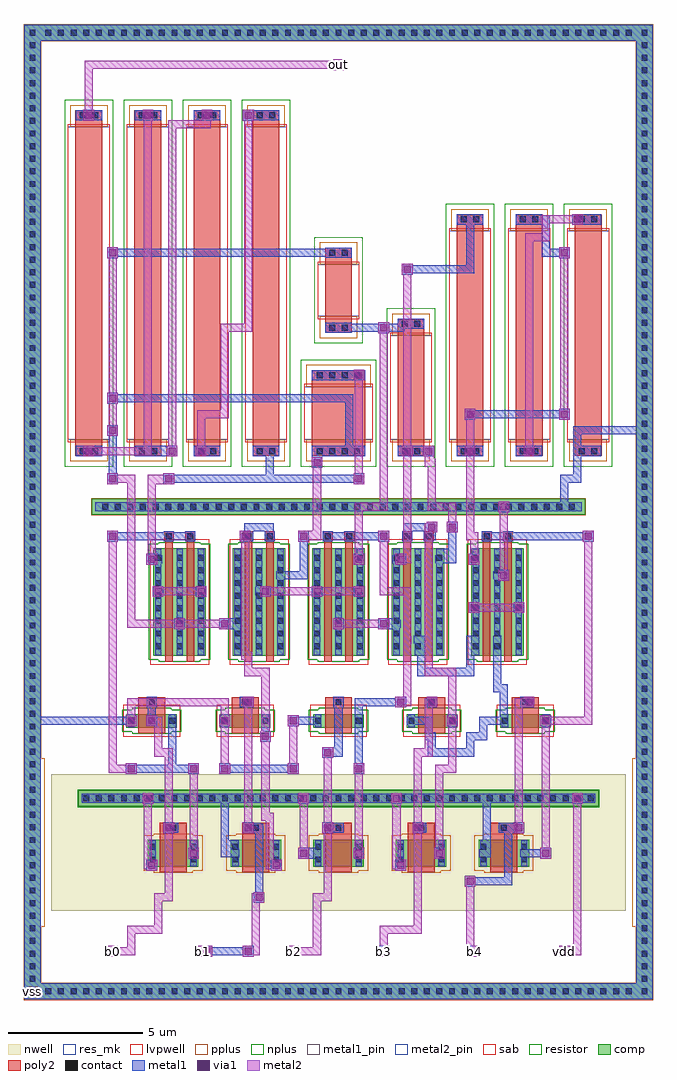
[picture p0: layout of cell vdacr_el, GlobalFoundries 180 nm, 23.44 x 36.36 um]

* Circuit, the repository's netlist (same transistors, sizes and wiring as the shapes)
* NGSPICE file created from vdacr_el.ext - technology: gf180mcuD

.subckt r_w1_l7p765 a_n100_n899# a_n100_777# VSUBS
X0 a_n100_777# a_n100_n899# VSUBS ppolyf_u_1k r_width=1u r_length=7.77u
.ends

.subckt r_w2_l1p97 a_n200_n319# a_n200_197# VSUBS
X0 a_n200_197# a_n200_n319# VSUBS ppolyf_u_1k r_width=2u r_length=1.97u
.ends

.subckt r_w1_l1p94 a_n100_n316# a_n100_194# VSUBS
X0 a_n100_194# a_n100_n316# VSUBS ppolyf_u_1k r_width=1u r_length=1.94u
.ends

.subckt r_w1_l3p88 a_n100_n510# a_n100_388# VSUBS
X0 a_n100_388# a_n100_n510# VSUBS ppolyf_u_1k r_width=1u r_length=3.88u
.ends

.subckt n_w0p5_l1 a_100_n50# a_n100_n94# a_n188_n50# VSUBS
X0 a_100_n50# a_n100_n94# a_n188_n50# VSUBS nfet_03v3 ad=0.22p pd=1.88u as=0.22p ps=1.88u w=0.5u l=1u
.ends

.subckt p_w1_l1 a_n188_n100# a_100_n100# a_n100_n144# w_n274_n230#
X0 a_100_n100# a_n100_n144# a_n188_n100# w_n274_n230# pfet_03v3 ad=0.44p pd=2.88u as=0.44p ps=2.88u w=1u l=1u
.ends

.subckt r_w1_l11p645 a_n100_1165# a_n100_n1287# VSUBS
X0 a_n100_1165# a_n100_n1287# VSUBS ppolyf_u_1k r_width=1u r_length=11.65u
.ends

.subckt n_w4_l0p28_f2 a_n52_n400# a_52_n444# a_108_n400# a_n108_n444# a_n196_n400#
+ VSUBS
X0 a_108_n400# a_52_n444# a_n52_n400# VSUBS nfet_03v3 ad=1.76p pd=8.88u as=1.04p ps=4.52u w=4u l=0.28u
X1 a_n52_n400# a_n108_n444# a_n196_n400# VSUBS nfet_03v3 ad=1.04p pd=4.52u as=1.76p ps=8.88u w=4u l=0.28u
.ends

.subckt vdacr_el b0 b1 b2 b3 b4 vdd out vss
XXRS4_0 m1_3662_4048# m1_3310_2880# vss r_w1_l7p765
XXRS4_1 vss m1_3662_4048# vss r_w1_l7p765
XXRS0 m1_617_3840# m1_956_3000# vss r_w2_l1p97
XXRS1 m1_2242_4966# m1_617_3840# vss r_w1_l1p94
XXRS3 m1_3310_2880# m1_2742_3250# vss r_w1_l7p765
XXRS2 m1_2742_3250# m1_2242_4966# vss r_w1_l3p88
XIB4n a_3408_3416# b4 vss vss n_w0p5_l1
XIB3n a_2816_3416# b3 vss vss n_w0p5_l1
XIB4p vdd a_3408_3416# b4 vdd p_w1_l1
XIB2n a_2224_3416# b2 vss vss n_w0p5_l1
XIB3p vdd a_2816_3416# b3 vdd p_w1_l1
XIB2p vdd a_2224_3416# b2 vdd p_w1_l1
XIB1n a_1632_3416# b1 vss vss n_w0p5_l1
XIB0n a_1040_3416# b0 vss vss n_w0p5_l1
XIB1p vdd a_1632_3416# b1 vdd p_w1_l1
XIB0p vdd a_1040_3416# b0 vdd p_w1_l1
XXRB0 out m1_382_4048# vss r_w1_l11p645
XSW0 m1_617_3840# a_1040_3416# m1_956_3000# a_1040_3416# m1_956_3000# vss n_w4_l0p28_f2
XXRB1 m1_382_4048# m1_822_4048# vss r_w1_l11p645
XSW2 m1_2742_3250# a_2224_3416# m1_2242_4966# a_2224_3416# m1_2242_4966# vss n_w4_l0p28_f2
XSW1 m1_2242_4966# a_1632_3416# m1_617_3840# a_1632_3416# m1_617_3840# vss n_w4_l0p28_f2
XXRB3 m1_1262_4048# m1_956_3000# vss r_w1_l11p645
XXRB2 m1_822_4048# m1_1262_4048# vss r_w1_l11p645
XSW3 m1_3310_2880# a_2816_3416# m1_2742_3250# a_2816_3416# m1_2742_3250# vss n_w4_l0p28_f2
XSW4 vss a_3408_3416# m1_3310_2880# a_3408_3416# m1_3310_2880# vss n_w4_l0p28_f2
.ends

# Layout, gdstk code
import gdstk
lib = gdstk.Library(unit=1e-6, precision=1e-09)
def R(c, l, rs):  # rectangles x0, y0, x1, y1
    for r in rs: c.add(gdstk.rectangle(r[:2], r[2:], *l))
def A(c, l, x, y, w, h, nx, ny, dx, dy):  # array of equal rectangles
    R(c, l, [(x+i*dx, y+j*dy, x+i*dx+w, y+j*dy+h) for i in range(nx) for j in range(ny)])
nwell = (21, 0)
comp = (22, 0)
poly2 = (30, 0)
pplus = (31, 0)
nplus = (32, 0)
contact = (33, 0)
metal1 = (34, 0)
metal1_pin = (34, 10)
via1 = (35, 0)
metal2 = (36, 0)
metal2_pin = (36, 10)
sab = (49, 0)
resistor = (62, 0)
res_mk = (110, 5)
lvpwell = (204, 0)

p_w1_l1 = lib.new_cell('p_w1_l1')
R(p_w1_l1, nwell, [(-1.37,-1.15,1.37,1.15)])
R(p_w1_l1, comp, [(-0.94,-0.5,0.94,0.5)])
R(p_w1_l1, poly2, [(-0.5,-0.72,0.5,0.72)])
R(p_w1_l1, pplus, [(-0.73,-0.73,0.73,-0.66), (-1.1,-0.66,1.1,0.66), (-0.73,0.66,0.73,0.73)])
R(p_w1_l1, contact, [(-0.87,-0.345,-0.65,-0.125), (0.65,-0.345,0.87,-0.125), (-0.87,0.125,-0.65,0.345), (0.65,0.125,0.87,0.345)])
R(p_w1_l1, metal1, [(-0.875,-0.49,-0.645,0.49), (0.645,-0.49,0.875,0.49)])

n_w0p5_l1 = lib.new_cell('n_w0p5_l1')
R(n_w0p5_l1, comp, [(-0.94,-0.25,0.94,0.25)])
R(n_w0p5_l1, poly2, [(-0.5,-0.47,0.5,0.47)])
R(n_w0p5_l1, nplus, [(-0.73,-0.48,0.73,-0.41), (-1.1,-0.41,1.1,0.41), (-0.73,0.41,0.73,0.48)])
R(n_w0p5_l1, contact, [(-0.87,-0.11,-0.65,0.11), (0.65,-0.11,0.87,0.11)])
R(n_w0p5_l1, metal1, [(-0.875,-0.24,-0.645,0.24), (0.645,-0.24,0.875,0.24)])
R(n_w0p5_l1, lvpwell, [(-1.06,-0.59,1.06,0.59)])

n_w4_l0p28_f2 = lib.new_cell('n_w4_l0p28_f2')
R(n_w4_l0p28_f2, comp, [(-0.98,-2,0.98,2)])
R(n_w4_l0p28_f2, poly2, [(-0.54,-2.22,-0.26,2.22), (0.26,-2.22,0.54,2.22)])
R(n_w4_l0p28_f2, nplus, [(-0.77,-2.23,0.77,-2.16), (-1.14,-2.16,1.14,2.16), (-0.77,2.16,0.77,2.23)])
A(n_w4_l0p28_f2, contact, -0.91, -1.755, 0.22, 0.22, 3, 8, 0.8, 0.47)
A(n_w4_l0p28_f2, metal1, -0.915, -1.99, 0.23, 3.98, 3, 1, 0.8, 0)
R(n_w4_l0p28_f2, lvpwell, [(-1.1,-2.34,1.1,2.34)])

r_w1_l11p645 = lib.new_cell('r_w1_l11p645')
R(r_w1_l11p645, poly2, [(-0.5,-6.435,0.5,6.435)])
R(r_w1_l11p645, pplus, [(-0.7,-6.635,0.7,-5.825), (-0.7,5.825,0.7,6.635)])
R(r_w1_l11p645, contact, [(-0.345,-6.365,-0.125,-6.145), (0.125,-6.365,0.345,-6.145), (-0.345,6.145,-0.125,6.365), (0.125,6.145,0.345,6.365)])
R(r_w1_l11p645, metal1, [(-0.49,-6.37,0.49,-6.14), (-0.49,6.14,0.49,6.37)])
R(r_w1_l11p645, sab, [(-0.78,-5.925,0.78,5.925), (-0.78,-5.825,0.78,5.825)])
R(r_w1_l11p645, resistor, [(-0.9,-6.835,0.9,6.835)])
R(r_w1_l11p645, res_mk, [(-0.78,-5.825,0.78,5.825), (-0.5,-5.825,0.5,5.825)])

r_w2_l1p97 = lib.new_cell('r_w2_l1p97')
R(r_w2_l1p97, poly2, [(-1,-1.595,1,1.595)])
R(r_w2_l1p97, pplus, [(-1.2,-1.795,1.2,-0.985), (-1.2,0.985,1.2,1.795)])
A(r_w2_l1p97, contact, -0.815, -1.525, 0.22, 0.22, 4, 2, 0.47, 2.83)
R(r_w2_l1p97, metal1, [(-0.99,-1.53,0.99,-1.3), (-0.99,1.3,0.99,1.53)])
R(r_w2_l1p97, sab, [(-1.28,-1.085,1.28,1.085), (-1.28,-0.985,1.28,0.985)])
R(r_w2_l1p97, resistor, [(-1.4,-1.995,1.4,1.995)])
R(r_w2_l1p97, res_mk, [(-1.28,-0.985,1.28,0.985), (-1,-0.985,1,0.985)])

r_w1_l1p94 = lib.new_cell('r_w1_l1p94')
R(r_w1_l1p94, poly2, [(-0.5,-1.58,0.5,1.58)])
R(r_w1_l1p94, pplus, [(-0.7,-1.78,0.7,-0.97), (-0.7,0.97,0.7,1.78)])
R(r_w1_l1p94, contact, [(-0.345,-1.51,-0.125,-1.29), (0.125,-1.51,0.345,-1.29), (-0.345,1.29,-0.125,1.51), (0.125,1.29,0.345,1.51)])
R(r_w1_l1p94, metal1, [(-0.49,-1.515,0.49,-1.285), (-0.49,1.285,0.49,1.515)])
R(r_w1_l1p94, sab, [(-0.78,-1.07,0.78,1.07), (-0.78,-0.97,0.78,0.97)])
R(r_w1_l1p94, resistor, [(-0.9,-1.98,0.9,1.98)])
R(r_w1_l1p94, res_mk, [(-0.78,-0.97,0.78,0.97), (-0.5,-0.97,0.5,0.97)])

r_w1_l3p88 = lib.new_cell('r_w1_l3p88')
R(r_w1_l3p88, poly2, [(-0.5,-2.55,0.5,2.55)])
R(r_w1_l3p88, pplus, [(-0.7,-2.75,0.7,-1.94), (-0.7,1.94,0.7,2.75)])
R(r_w1_l3p88, contact, [(-0.345,-2.48,-0.125,-2.26), (0.125,-2.48,0.345,-2.26), (-0.345,2.26,-0.125,2.48), (0.125,2.26,0.345,2.48)])
R(r_w1_l3p88, metal1, [(-0.49,-2.485,0.49,-2.255), (-0.49,2.255,0.49,2.485)])
R(r_w1_l3p88, sab, [(-0.78,-2.04,0.78,2.04), (-0.78,-1.94,0.78,1.94)])
R(r_w1_l3p88, resistor, [(-0.9,-2.95,0.9,2.95)])
R(r_w1_l3p88, res_mk, [(-0.78,-1.94,0.78,1.94), (-0.5,-1.94,0.5,1.94)])

r_w1_l7p765 = lib.new_cell('r_w1_l7p765')
R(r_w1_l7p765, poly2, [(-0.5,-4.495,0.5,4.495)])
R(r_w1_l7p765, pplus, [(-0.7,-4.695,0.7,-3.885), (-0.7,3.885,0.7,4.695)])
R(r_w1_l7p765, contact, [(-0.345,-4.425,-0.125,-4.205), (0.125,-4.425,0.345,-4.205), (-0.345,4.205,-0.125,4.425), (0.125,4.205,0.345,4.425)])
R(r_w1_l7p765, metal1, [(-0.49,-4.43,0.49,-4.2), (-0.49,4.2,0.49,4.43)])
R(r_w1_l7p765, sab, [(-0.78,-3.985,0.78,3.985), (-0.78,-3.885,0.78,3.885)])
R(r_w1_l7p765, resistor, [(-0.9,-4.895,0.9,4.895)])
R(r_w1_l7p765, res_mk, [(-0.78,-3.885,0.78,3.885), (-0.5,-3.885,0.5,3.885)])

vdacr_el = lib.new_cell('vdacr_el')
R(vdacr_el, nwell, [(1,3.3,22.4,8.39)])
R(vdacr_el, comp, [(0,0,23.4,0.6), (0,0.6,0.6,35.72), (22.8,0.6,23.4,35.72), (2,7.19,21.4,7.79), (2.5,18.05,20.9,18.65), (0,35.72,23.4,36.32)])
A(vdacr_el, poly2, 5.04, 5.95, 1, 0.63, 5, 1, 3.08, 0)
A(vdacr_el, poly2, 4.24, 10.63, 1, 0.63, 5, 1, 3.48, 0)
R(vdacr_el, poly2, [(5.24,16.81,5.52,17.08), (6.04,16.81,6.32,17.08), (8.2,16.81,8.48,17.08), (9,16.81,9.28,17.08), (11.16,16.81,11.44,17.08), (11.96,16.81,12.24,17.08), (14.12,16.81,14.4,17.08), (14.92,16.81,15.2,17.08), (17.08,16.81,17.36,17.08), (17.88,16.81,18.16,17.08), (5.2,17.08,5.56,17.44), (6,17.08,6.36,17.44), (8.16,17.08,8.52,17.44), (8.96,17.08,9.32,17.44), (11.12,17.08,11.48,17.44), (11.92,17.08,12.28,17.44), (14.08,17.08,14.44,17.44), (14.88,17.08,15.24,17.44), (17.04,17.08,17.4,17.44), (17.84,17.08,18.2,17.44)])
R(vdacr_el, pplus, [(-0.02,-0.02,23.42,0.62), (-0.02,0.62,0.62,2.71), (22.78,0.62,23.42,2.71), (-0.02,2.71,0.76,8.98), (22.64,2.71,23.42,8.98), (-0.02,8.98,0.62,35.7), (22.78,8.98,23.42,35.7), (2.48,18.03,20.92,18.67), (-0.02,35.7,23.42,36.34)])
R(vdacr_el, nplus, [(1.98,7.17,21.42,7.81)])
A(vdacr_el, contact, 0.19, 0.19, 0.22, 0.22, 1, 77, 0, 0.47)
A(vdacr_el, contact, 0.78, 0.19, 0.22, 0.22, 47, 2, 0.47, 35.72)
A(vdacr_el, contact, 22.99, 0.19, 0.22, 0.22, 1, 77, 0, 0.47)
A(vdacr_el, contact, 5.43, 6.29, 0.22, 0.22, 5, 1, 3.08, 0)
A(vdacr_el, contact, 2.19, 7.38, 0.22, 0.22, 41, 1, 0.47, 0)
A(vdacr_el, contact, 4.63, 10.97, 0.22, 0.22, 5, 1, 3.48, 0)
A(vdacr_el, contact, 2.895, 18.24, 0.22, 0.22, 38, 1, 0.47, 0)
R(vdacr_el, contact, [(5.27,17.15,5.49,17.37), (6.07,17.15,6.29,17.37), (8.23,17.15,8.45,17.37), (9.03,17.15,9.25,17.37), (11.19,17.15,11.41,17.37), (11.99,17.15,12.21,17.37), (14.15,17.15,14.37,17.37), (14.95,17.15,15.17,17.37), (17.11,17.15,17.33,17.37), (17.91,17.15,18.13,17.37)])
A(vdacr_el, metal1, 4.54, 4.8, 0.4, 0.4, 3, 1, 4.64, 0)
A(vdacr_el, metal1, 5.18, 6.59, 0.4, 0.01, 3, 1, 2.96, 0)
A(vdacr_el, metal1, 2.2, 32.74, 0.4, 0.01, 3, 2, 2.2, 0.39)
A(vdacr_el, metal1, 1.91, 32.75, 0.98, 0.38, 3, 1, 2.2, 0)
R(vdacr_el, metal1, [(0,0,23.4,0.6), (0,0.6,0.6,10.23), (22.8,0.6,23.4,21.05), (6.6,1.6,7,1.65), (8.14,1.6,8.54,1.65), (6.6,1.65,8.54,1.95), (6.6,1.95,7,2), (8.14,1.95,8.54,2), (8.54,3.6,8.94,4), (8.59,4,8.89,6.2), (16.4,4.2,16.8,4.25), (16.4,4.25,18.17,4.55), (16.4,4.55,16.8,4.6), (17.87,4.55,18.17,6.2), (6.1,5.25,6.5,5.65), (10.2,5.25,10.825,5.3), (12.26,5.25,12.66,5.65), (15.26,5.25,15.66,5.65), (19.22,5.25,19.62,5.3), (7.31,5.3,8.01,5.6), (10.2,5.3,11.05,5.6), (16.95,5.3,17.37,5.6), (18.47,5.3,19.62,5.6), (7.31,5.6,7.745,5.94), (10.2,5.6,10.825,5.65), (17.07,5.6,17.37,7.32), (19.22,5.6,19.62,5.65), (7.31,5.94,7.61,7.32), (5.18,6.2,5.58,6.21), (8.14,6.2,8.89,6.55), (11.1,6.2,11.5,6.21), (14.46,6.2,14.86,6.21), (17.87,6.2,18.62,6.21), (5.18,6.21,5.73,6.59), (11.1,6.21,11.89,6.59), (14.46,6.21,14.97,6.59), (17.67,6.21,18.62,6.59), (8.14,6.55,8.81,6.59), (14.46,6.59,14.86,6.6), (18.22,6.59,18.62,6.6), (4.4,7.29,4.8,7.32), (10.2,7.29,10.6,7.32), (13.66,7.29,14.06,7.32), (20.4,7.29,20.8,7.32), (2.13,7.32,21.27,7.66), (4.4,7.66,4.8,7.69), (10.2,7.66,10.6,7.69), (13.66,7.66,14.06,7.69), (20.4,7.66,20.8,7.69), (3.78,8.4,4.18,8.45), (6.1,8.4,6.5,8.45), (7.26,8.4,7.66,8.45), (9.815,8.4,10.215,8.45), (12.26,8.4,12.66,8.8), (3.78,8.45,6.5,8.75), (7.26,8.45,10.215,8.75), (3.78,8.75,4.18,8.8), (5.35,8.75,5.65,10.53), (6.1,8.75,6.5,8.8), (7.26,8.75,7.66,8.8), (9.815,8.75,10.215,8.8), (12.31,8.8,12.61,10.93), (11.1,9,11.5,9.05), (11.1,9.05,11.85,9.4), (15.03,9.05,16.75,9.35), (15.03,9.35,15.33,9.65), (16.45,9.35,16.75,9.65), (11.55,9.4,11.85,10.89), (8.78,9.6,9.18,10), (14.91,9.65,15.33,9.95), (16.45,9.65,17.25,9.95), (14.91,9.95,15.21,10.23), (16.95,9.95,17.25,10.23), (8.83,10,9.13,10.53), (3.78,10.18,4.18,10.23), (4.54,10.18,4.94,10.58), (7.26,10.18,7.66,10.58), (9.815,10.18,10.215,10.23), (15.74,10.18,16.14,10.58), (19.22,10.18,19.62,10.58), (0,10.23,4.18,10.53), (9.815,10.23,11.05,10.53), (14.25,10.23,15.21,10.53), (16.95,10.23,18.01,10.53), (0,10.53,0.6,35.72), (3.78,10.53,4.18,10.58), (9.815,10.53,10.215,10.58), (17.71,10.53,18.01,11.45), (4.59,10.58,4.89,10.89), (8.14,10.88,8.54,10.89), (13.82,10.88,14.22,10.93), (14.98,10.88,15.38,11.28), (18.6,10.88,19,10.89), (4.55,10.89,4.93,11.27), (8.03,10.89,8.54,11.27), (11.51,10.89,11.89,11.27), (18.47,10.89,19,11.27), (12.31,10.93,14.22,11.23), (13.82,11.23,14.22,11.28), (8.14,11.27,8.54,11.28), (18.6,11.27,19,11.28), (17.47,11.45,18.01,11.75), (17.47,11.75,17.77,13.55), (14.63,12.05,16.75,12.35), (14.63,12.35,14.93,13.25), (16.45,12.35,16.75,13.25), (14.51,13.25,14.93,13.55), (16.45,13.25,16.9,13.55), (5.58,13.8,5.98,14.2), (7.26,13.8,7.825,13.85), (11.5,13.8,11.9,14.2), (13.185,13.8,13.745,13.85), (7.26,13.85,8.01,14.15), (13.185,13.85,14.01,14.15), (7.26,14.15,7.825,14.2), (13.185,14.15,13.745,14.2), (16.55,14.4,16.95,14.8), (18.22,14.4,18.62,14.8), (4.78,15,5.18,15.4), (6.38,15,6.78,15.4), (8.78,15,9.18,15.05), (10.7,15,11.1,15.4), (12.26,15,12.66,15.4), (8.59,15.05,9.18,15.35), (8.78,15.35,9.18,15.4), (17.66,15.6,18.06,15.65), (9.39,15.65,10.55,15.95), (17.47,15.65,18.06,15.95), (10.25,15.95,10.55,17.06), (17.66,15.95,18.06,16), (4.54,16.2,4.94,16.25), (12.26,16.2,12.66,16.6), (13.82,16.2,14.22,16.25), (16.55,16.2,16.95,16.6), (4.54,16.25,5.13,16.55), (13.71,16.25,14.22,16.55), (15.31,16.25,16.09,16.55), (4.54,16.55,4.94,16.6), (13.82,16.55,14.22,16.6), (15.575,16.55,16.09,16.8), (15.79,16.8,16.09,17.4), (3.085,17.06,3.485,17.11), (8.02,17.06,8.42,17.07), (10.2,17.06,10.6,17.46), (13.185,17.06,13.585,17.11), (20.8,17.06,21.2,17.11), (5.19,17.07,5.57,17.11), (5.99,17.07,6.37,17.11), (8.02,17.07,8.53,17.45), (8.95,17.07,9.33,17.45), (11.11,17.07,11.49,17.11), (11.91,17.07,12.29,17.11), (14.07,17.07,14.45,17.45), (14.87,17.07,15.25,17.11), (17.03,17.07,17.41,17.11), (17.83,17.07,18.21,17.11), (3.085,17.11,6.37,17.41), (11.11,17.11,13.585,17.41), (14.87,17.11,15.33,17.4), (17.03,17.11,21.2,17.41), (14.87,17.4,15.38,17.45), (15.74,17.4,16.14,17.8), (3.085,17.41,3.485,17.46), (5.19,17.41,5.57,17.45), (5.99,17.41,6.37,17.45), (11.11,17.41,11.49,17.45), (11.91,17.41,12.29,17.45), (13.185,17.41,13.585,17.46), (17.03,17.41,17.41,17.45), (17.83,17.41,18.21,17.45), (20.8,17.41,21.2,17.46), (8.02,17.45,9.29,17.46), (14.11,17.45,15.38,17.75), (8.19,17.46,9.29,17.75), (14.98,17.75,15.38,17.8), (17.66,18.15,18.06,18.18), (2.63,18.18,20.77,18.52), (17.66,18.52,18.06,18.55), (19.965,18.52,20.265,19.25), (3.085,19.2,3.485,19.6), (5.18,19.2,5.58,19.25), (12.26,19.2,12.66,19.25), (5.18,19.25,12.66,19.55), (19.965,19.25,20.75,19.55), (5.18,19.55,5.58,19.6), (8.99,19.55,9.29,20.24), (12.26,19.55,12.66,19.6), (20.45,19.55,20.75,20.24), (3.135,19.6,3.435,21), (10.7,19.8,11.1,20.2), (10.71,20.2,11.1,20.24), (2.2,20.23,2.6,20.24), (5.3,20.23,5.7,20.24), (6.38,20.23,6.78,20.24), (14.06,20.23,14.46,20.24), (14.86,20.23,15.26,20.24), (16.4,20.23,16.8,20.24), (18.6,20.23,19,20.24), (1.91,20.24,2.89,20.62), (4.11,20.24,5.7,20.62), (6.31,20.24,7.29,20.62), (8.51,20.24,9.49,20.62), (10.71,20.24,12.69,20.62), (13.91,20.24,15.26,20.62), (16.11,20.24,17.09,20.62), (18.31,20.24,19.29,20.62), (20.45,20.24,21.49,20.62), (2.2,20.62,2.6,20.63), (5.3,20.62,5.7,20.63), (6.38,20.62,6.78,20.63), (11.95,20.62,12.25,22.25), (14.06,20.62,14.46,20.63), (14.86,20.62,15.26,20.63), (16.4,20.62,16.8,20.63), (18.6,20.62,19,20.63), (20.45,20.62,20.75,21.05), (3.085,21,3.485,21.4), (20.45,21.05,23.4,21.35), (22.8,21.35,23.4,35.72), (16.4,21.6,16.8,21.65), (19.915,21.6,20.315,21.65), (16.4,21.65,20.315,21.95), (16.4,21.95,16.8,22), (19.915,21.95,20.315,22), (3.085,22.2,3.485,22.25), (3.085,22.25,12.25,22.55), (3.085,22.55,3.485,22.6), (12.26,23.06,12.66,23.07), (10.71,23.07,12.69,23.45), (12.26,23.45,12.66,23.46), (13.185,24.82,13.585,24.87), (11.21,24.83,12.19,24.87), (11.21,24.87,14.17,24.98), (11.21,24.98,14.89,25.17), (11.21,25.17,12.19,25.21), (13.185,25.17,13.585,25.22), (13.91,25.17,14.89,25.36), (14.06,27,14.46,27.05), (14.06,27.05,16.75,27.35), (14.06,27.35,14.46,27.4), (16.45,27.35,16.75,28.87), (3.085,27.62,3.485,27.67), (19.915,27.62,20.315,27.67), (11.21,27.63,12.19,27.67), (3.085,27.67,12.19,27.97), (19.27,27.67,20.315,27.97), (3.085,27.97,3.485,28.02), (11.21,27.97,12.19,28.01), (19.27,27.97,19.57,28.87), (19.915,27.97,20.315,28.02), (20.4,28.86,20.8,28.87), (16.11,28.87,17.09,29.25), (18.31,28.87,19.57,29.21), (20.4,28.87,21.49,29.25), (18.31,29.21,19.29,29.25), (20.4,29.25,20.8,29.26), (8.14,32.74,8.54,32.75), (8.14,32.75,9.49,33.13), (8.14,33.13,8.54,33.14), (0,35.72,23.4,36.32)])
R(vdacr_el, metal1_pin, [(0.1,0.1,0.5,0.5)])
A(vdacr_el, via1, 4.61, 4.87, 0.26, 0.26, 3, 1, 4.64, 0)
A(vdacr_el, via1, 5.25, 6.27, 0.26, 0.26, 3, 1, 2.96, 0)
A(vdacr_el, via1, 2.27, 32.81, 0.26, 0.26, 3, 1, 2.2, 0)
R(vdacr_el, via1, [(6.67,1.67,6.93,1.93), (8.21,1.67,8.47,1.93), (8.61,3.67,8.87,3.93), (16.47,4.27,16.73,4.53), (6.17,5.32,6.43,5.58), (10.27,5.32,10.53,5.58), (12.33,5.32,12.59,5.58), (15.33,5.32,15.59,5.58), (19.29,5.32,19.55,5.58), (14.53,6.27,14.79,6.53), (18.29,6.27,18.55,6.53), (4.47,7.36,4.73,7.62), (10.27,7.36,10.53,7.62), (13.73,7.36,13.99,7.62), (20.47,7.36,20.73,7.62), (3.85,8.47,4.11,8.73), (6.17,8.47,6.43,8.73), (7.33,8.47,7.59,8.73), (9.885,8.47,10.145,8.73), (12.33,8.47,12.59,8.73), (11.17,9.07,11.43,9.33), (8.85,9.67,9.11,9.93), (3.85,10.25,4.11,10.51), (4.61,10.25,4.87,10.51), (7.33,10.25,7.59,10.51), (9.885,10.25,10.145,10.51), (15.81,10.25,16.07,10.51), (19.29,10.25,19.55,10.51), (8.21,10.95,8.47,11.21), (13.89,10.95,14.15,11.21), (15.05,10.95,15.31,11.21), (18.67,10.95,18.93,11.21), (5.65,13.87,5.91,14.13), (7.33,13.87,7.59,14.13), (11.57,13.87,11.83,14.13), (13.255,13.87,13.515,14.13), (16.62,14.47,16.88,14.73), (18.29,14.47,18.55,14.73), (4.85,15.07,5.11,15.33), (6.45,15.07,6.71,15.33), (8.85,15.07,9.11,15.33), (10.77,15.07,11.03,15.33), (12.33,15.07,12.59,15.33), (17.73,15.67,17.99,15.93), (4.61,16.27,4.87,16.53), (12.33,16.27,12.59,16.53), (13.89,16.27,14.15,16.53), (16.62,16.27,16.88,16.53), (3.155,17.13,3.415,17.39), (8.09,17.13,8.35,17.39), (10.27,17.13,10.53,17.39), (13.255,17.13,13.515,17.39), (20.87,17.13,21.13,17.39), (15.05,17.47,15.31,17.73), (15.81,17.47,16.07,17.73), (17.73,18.22,17.99,18.48), (3.155,19.27,3.415,19.53), (5.25,19.27,5.51,19.53), (12.33,19.27,12.59,19.53), (10.77,19.87,11.03,20.13), (2.27,20.3,2.53,20.56), (5.37,20.3,5.63,20.56), (6.45,20.3,6.71,20.56), (14.13,20.3,14.39,20.56), (14.93,20.3,15.19,20.56), (16.47,20.3,16.73,20.56), (18.67,20.3,18.93,20.56), (3.155,21.07,3.415,21.33), (16.47,21.67,16.73,21.93), (19.985,21.67,20.245,21.93), (3.155,22.27,3.415,22.53), (12.33,23.13,12.59,23.39), (13.255,24.89,13.515,25.15), (14.13,27.07,14.39,27.33), (3.155,27.69,3.415,27.95), (19.985,27.69,20.245,27.95), (20.47,28.93,20.73,29.19), (8.21,32.81,8.47,33.07)])
A(vdacr_el, metal2, 4.54, 4.8, 0.4, 0.05, 3, 1, 4.64, 0)
A(vdacr_el, metal2, 5.18, 6.2, 0.4, 0.4, 3, 1, 2.96, 0)
R(vdacr_el, metal2, [(3.085,1.6,3.485,1.65), (6.45,1.6,7,2), (8.14,1.6,8.54,1.65), (9.815,1.6,10.215,1.65), (13.185,1.6,13.585,2), (16.55,1.6,16.95,1.65), (19.915,1.6,20.315,1.65), (3.085,1.65,4.13,1.95), (8.14,1.65,8.77,2), (9.815,1.65,11.05,1.95), (16.45,1.65,16.95,2), (19.915,1.65,20.75,2), (3.085,1.95,3.485,2), (3.83,1.95,4.13,2.45), (9.815,1.95,10.215,2), (10.75,1.95,11.05,3.65), (8.47,2,8.77,3.6), (13.235,2,13.535,2.45), (16.45,2,16.75,4.2), (20.45,2,20.75,7.29), (3.83,2.45,5.13,2.75), (13.235,2.45,14.81,2.75), (4.83,2.75,5.13,3.65), (14.51,2.75,14.81,6.2), (8.47,3.6,8.94,3.95), (4.83,3.65,5.53,3.95), (10.75,3.65,11.45,3.95), (5.23,3.95,5.53,6.2), (8.54,3.95,8.94,4), (11.15,3.95,11.45,6.2), (16.4,4.2,16.8,4.6), (4.45,4.85,4.94,5.2), (8.99,4.85,9.58,5.2), (13.71,4.85,14.22,5.2), (4.45,5.2,4.75,7.29), (8.99,5.2,9.29,6.65), (13.71,5.2,14.01,7.29), (6.1,5.25,6.5,5.65), (10.2,5.25,10.6,5.65), (12.26,5.25,12.66,5.65), (15.26,5.25,15.66,5.65), (19.22,5.25,19.62,5.65), (6.15,5.65,6.45,8.4), (10.25,5.65,10.55,7.29), (12.31,5.65,12.61,8.4), (15.31,5.65,15.61,8.45), (19.27,5.65,19.57,10.18), (14.46,6.2,14.86,6.6), (18.22,6.2,18.62,6.6), (5.23,6.6,5.53,9.05), (8.19,6.6,8.49,10.88), (11.15,6.6,11.45,9), (14.51,6.6,14.81,9.05), (18.27,6.6,18.57,10.88), (8.83,6.65,9.29,6.95), (8.83,6.95,9.13,9.6), (4.4,7.29,4.8,7.69), (10.2,7.29,10.6,7.69), (13.66,7.29,14.06,7.69), (20.4,7.29,20.8,7.69), (3.78,8.4,4.18,8.45), (6.1,8.4,6.5,8.8), (7.26,8.4,7.66,8.8), (9.815,8.4,10.215,8.8), (12.26,8.4,12.66,8.8), (3.135,8.45,4.18,8.75), (15.31,8.45,16.09,8.75), (3.135,8.75,3.435,17.06), (3.78,8.75,4.18,8.8), (15.79,8.75,16.09,10.18), (7.31,8.8,7.61,10.18), (9.865,8.8,10.165,10.18), (11.1,9,11.5,9.4), (4.83,9.05,5.53,9.35), (14.51,9.05,15.21,9.35), (4.83,9.35,5.13,10.18), (14.91,9.35,15.21,10.88), (8.78,9.6,9.18,10), (8.83,10,9.13,12.05), (3.78,10.18,4.18,10.58), (4.54,10.18,5.13,10.53), (7.26,10.18,7.66,10.58), (9.815,10.18,10.215,10.58), (15.74,10.18,16.14,10.58), (19.22,10.18,19.62,10.23), (19.22,10.23,21.15,10.53), (4.54,10.53,4.94,10.58), (19.22,10.53,19.62,10.58), (20.85,10.53,21.15,17.06), (3.83,10.58,4.13,10.93), (7.31,10.58,7.61,10.93), (15.79,10.58,16.09,12.05), (8.14,10.88,8.54,11.28), (13.82,10.88,14.22,10.93), (14.91,10.88,15.38,11.23), (18.27,10.88,19,11.23), (3.83,10.93,7.61,11.23), (13.82,10.93,14.41,11.28), (14.98,11.23,15.38,11.28), (18.6,11.23,19,11.28), (14.11,11.28,14.41,15.05), (8.19,12.05,9.13,12.35), (14.91,12.05,16.09,12.35), (8.19,12.35,8.49,12.65), (14.91,12.35,15.21,17.4), (8.07,12.65,8.49,12.95), (8.07,12.95,8.37,17.06), (5.58,13.8,5.98,13.85), (7.26,13.8,7.66,13.85), (11.5,13.8,11.9,13.85), (13.185,13.8,13.585,13.85), (3.83,13.85,7.66,14.15), (11.5,13.85,13.585,14.15), (3.83,14.15,4.13,19.25), (5.58,14.15,5.98,14.2), (7.26,14.15,7.66,14.2), (11.5,14.15,11.9,14.2), (13.185,14.15,13.585,14.2), (16.55,14.4,16.95,14.45), (18.22,14.4,18.62,14.45), (16.55,14.45,18.62,14.75), (16.55,14.75,16.95,14.8), (18.22,14.75,18.62,14.8), (4.78,15,5.18,15.05), (6.38,15,6.78,15.05), (8.78,15,9.18,15.05), (10.7,15,11.1,15.05), (12.26,15,12.66,15.05), (4.78,15.05,6.78,15.35), (8.78,15.05,12.66,15.35), (13.235,15.05,14.41,15.35), (4.78,15.35,5.18,15.4), (6.38,15.35,6.78,15.4), (8.78,15.35,9.18,15.4), (10.7,15.35,11.1,15.4), (12.26,15.35,12.66,15.4), (13.235,15.35,13.535,17.06), (17.66,15.6,18.06,16), (17.71,16,18.01,18.15), (4.54,16.2,4.94,16.6), (12.26,16.2,12.66,16.6), (13.82,16.2,14.22,16.25), (16.55,16.2,16.95,16.6), (13.82,16.25,14.41,16.6), (4.59,16.6,4.89,19.2), (12.31,16.6,12.61,18.2), (14.11,16.6,14.41,20.23), (16.6,16.6,16.9,17.11), (3.085,17.06,3.485,17.46), (8.02,17.06,8.42,17.46), (10.2,17.06,10.6,17.11), (13.185,17.06,13.585,17.46), (20.8,17.06,21.2,17.46), (10.2,17.11,11.05,17.46), (16.45,17.11,16.9,17.41), (14.91,17.4,15.38,17.75), (15.74,17.4,16.14,17.8), (16.45,17.41,16.75,20.23), (10.75,17.46,11.05,19.8), (14.98,17.75,15.38,17.8), (15.79,17.8,16.09,18.2), (17.66,18.15,18.06,18.55), (12.31,18.2,13.535,18.5), (15.03,18.2,16.09,18.5), (13.235,18.5,13.535,24.82), (15.03,18.5,15.33,19.85), (3.085,19.2,3.485,19.25), (4.59,19.2,5.58,19.55), (12.26,19.2,12.66,19.6), (3.085,19.25,4.13,19.55), (3.085,19.55,3.485,19.6), (5.18,19.55,5.58,19.6), (12.31,19.6,12.61,23.06), (10.7,19.8,11.1,20.2), (14.91,19.85,15.33,20.15), (14.91,20.15,15.26,20.23), (2.2,20.23,2.6,20.28), (5.3,20.23,5.7,20.63), (6.38,20.23,6.78,20.63), (14.06,20.23,14.46,20.63), (14.86,20.23,15.26,20.63), (16.4,20.23,16.8,20.63), (18.6,20.23,19,20.63), (2.2,20.28,4.75,20.58), (2.2,20.58,2.6,20.63), (4.45,20.58,4.75,32.74), (5.35,20.63,5.65,32.45), (6.43,20.63,6.73,21.65), (14.11,20.63,14.41,27), (16.45,20.63,16.75,21.6), (18.65,20.63,18.95,28.25), (3.085,21,3.485,21.4), (3.135,21.4,3.435,22.2), (16.4,21.6,16.8,22), (19.915,21.6,20.315,22), (6.43,21.65,7.61,21.95), (7.31,21.95,7.61,24.87), (19.965,22,20.265,27.62), (3.085,22.2,3.485,22.6), (3.135,22.6,3.435,27.62), (12.26,23.06,12.66,23.46), (13.185,24.82,13.585,25.22), (7.31,24.87,8.49,25.17), (8.19,25.17,8.49,32.74), (14.06,27,14.46,27.4), (3.085,27.62,3.485,28.02), (19.915,27.62,20.315,28.02), (18.65,28.25,19.57,28.55), (19.27,28.55,19.57,28.91), (20.4,28.86,20.8,28.91), (19.27,28.91,20.8,29.21), (20.4,29.21,20.8,29.26), (5.35,32.45,6.95,32.74), (2.2,32.74,2.6,33.14), (4.4,32.74,4.8,33.14), (5.35,32.74,7,32.75), (8.14,32.74,8.54,33.14), (6.6,32.75,7,33.14), (2.25,33.14,2.55,34.67), (11.5,34.62,11.9,34.67), (2.25,34.67,11.9,34.97), (11.5,34.97,11.9,35.02)])
A(vdacr_el, metal2_pin, 3.085, 1.6, 0.4, 0.4, 3, 1, 3.365, 0)
A(vdacr_el, metal2_pin, 13.185, 1.6, 0.4, 0.4, 3, 1, 3.365, 0)
R(vdacr_el, metal2_pin, [(11.5,34.62,11.9,35.02)])
vdacr_el.add(gdstk.Reference(p_w1_l1, (5.54,5.45)))
vdacr_el.add(gdstk.Reference(n_w0p5_l1, (4.74,10.38)))
vdacr_el.add(gdstk.Reference(p_w1_l1, (8.62,5.45)))
vdacr_el.add(gdstk.Reference(n_w0p5_l1, (8.22,10.38)))
vdacr_el.add(gdstk.Reference(n_w4_l0p28_f2, (5.78,14.81)))
vdacr_el.add(gdstk.Reference(n_w4_l0p28_f2, (8.74,14.81)))
vdacr_el.add(gdstk.Reference(p_w1_l1, (11.7,5.45)))
vdacr_el.add(gdstk.Reference(n_w0p5_l1, (11.7,10.38)))
vdacr_el.add(gdstk.Reference(n_w4_l0p28_f2, (11.7,14.81)))
vdacr_el.add(gdstk.Reference(p_w1_l1, (14.78,5.45)))
vdacr_el.add(gdstk.Reference(n_w0p5_l1, (15.18,10.38)))
vdacr_el.add(gdstk.Reference(n_w4_l0p28_f2, (14.66,14.81)))
vdacr_el.add(gdstk.Reference(p_w1_l1, (17.86,5.45)))
vdacr_el.add(gdstk.Reference(n_w0p5_l1, (18.66,10.38)))
vdacr_el.add(gdstk.Reference(n_w4_l0p28_f2, (17.62,14.81)))
vdacr_el.add(gdstk.Reference(r_w1_l11p645, (2.4,26.685)))
vdacr_el.add(gdstk.Reference(r_w1_l11p645, (4.6,26.685)))
vdacr_el.add(gdstk.Reference(r_w1_l11p645, (6.8,26.685)))
vdacr_el.add(gdstk.Reference(r_w1_l11p645, (9,26.685)))
vdacr_el.add(gdstk.Reference(r_w2_l1p97, (11.7,21.845)))
vdacr_el.add(gdstk.Reference(r_w1_l1p94, (11.7,26.42)))
vdacr_el.add(gdstk.Reference(r_w1_l3p88, (14.4,22.8)))
vdacr_el.add(gdstk.Reference(r_w1_l7p765, (16.6,24.745)))
vdacr_el.add(gdstk.Reference(r_w1_l7p765, (18.8,24.745)))
vdacr_el.add(gdstk.Reference(r_w1_l7p765, (21,24.745)))
vdacr_el.add(gdstk.Label('b0', (3.285,1.8), layer=36, texttype=10))
vdacr_el.add(gdstk.Label('b1', (6.65,1.8), layer=36, texttype=10))
vdacr_el.add(gdstk.Label('b2', (10.015,1.8), layer=36, texttype=10))
vdacr_el.add(gdstk.Label('b3', (13.385,1.8), layer=36, texttype=10))
vdacr_el.add(gdstk.Label('b4', (16.75,1.8), layer=36, texttype=10))
vdacr_el.add(gdstk.Label('vdd', (20.115,1.8), layer=36, texttype=10))
vdacr_el.add(gdstk.Label('out', (11.7,34.82), layer=36, texttype=10))
vdacr_el.add(gdstk.Label('vss', (0.3,0.3), layer=34, texttype=10))

lib.write_gds('vdacr_el.gds')
